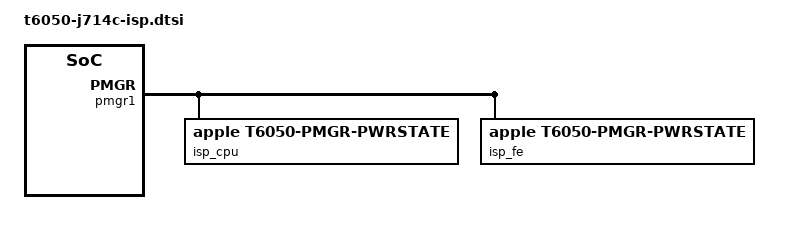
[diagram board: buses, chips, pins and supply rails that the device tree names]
// SPDX-License-Identifier: GPL-2.0+ OR MIT
/*
 * J714c ISP: T6050's ISP17a (ASC version 0x110003, the T8140/T8142 block).
 * From the J714c ADT: isp0 reg 0x580000000 + 0x3ff0000, IRQs [513 514 515
 * 516 526] (513 carries the IPC mailbox), sensor-type 0x73, firmware
 * pre-loaded by iBoot; dart-isp0 at 0x5828c0000/0x5828e0000/0x582900000
 * (+0xc000), IRQ 531, remap streams 1 6 7 10 11 -> 0; EIC mmio-wd-isp
 * 0x5c3b50000 + 0x8000.
 *
 * The ADT marks ISP_CPU (id 220) and ISP_FE (221) no_ps, but pmgr1's slots
 * run by device id 8 bytes apart from ISP_SYS (218, +0x3a0): ISP_CPU +0x3b0,
 * ISP_FE +0x3b8. Measured: both reach active from the AP, and the ISP then
 * reports its version. The remaining ISP slots (+0x3d8..+0x3f0) sit in the
 * DAPF range the boot loader passes to the ISP.
 *
 * m1n1 powers ISP_SYS, ISP_CPU and ISP_FE, carves the firmware heap and
 * fills in "isp-heap"; without it the driver has no heap.
 *
 * The sensor presets are the M5 (T8142) IMX958 ones; the J714c sensor is not
 * identified yet.
 */

&pmgr1 {
	ps_isp_cpu: power-controller@3b0 {
		compatible = "apple,t6050-pmgr-pwrstate", "apple,t8103-pmgr-pwrstate";
		reg = <0x3b0 4>;
		label = "isp_cpu";
		#power-domain-cells = <0>;
		#reset-cells = <0>;
		power-domains = <&ps_isp_sys>;
	};

	ps_isp_fe: power-controller@3b8 {
		compatible = "apple,t6050-pmgr-pwrstate", "apple,t8103-pmgr-pwrstate";
		reg = <0x3b8 4>;
		label = "isp_fe";
		#power-domain-cells = <0>;
		#reset-cells = <0>;
		power-domains = <&ps_isp_sys>;
	};
};

&soc {
	isp_dart0: iommu@5828c0000 {
		compatible = "apple,t6050-dart", "apple,t8110-dart";
		reg = <0x5 0x828c0000 0x0 0xc000>;
		#iommu-cells = <1>;
		interrupt-parent = <&aic>;
		interrupts = <AIC_IRQ 531 IRQ_TYPE_LEVEL_HIGH>;
		power-domains = <&ps_isp_sys>;
		/* As on T8140/T8142: 3-level tables, vm-base 0x10000000000. */
		apple,dma-range = <0x0 0x0 0x8 0x0>;
		apple,remap-streams = <1 0>, <6 0>, <7 0>, <10 0>, <11 0>;
	};

	isp_dart1: iommu@5828e0000 {
		compatible = "apple,t6050-dart", "apple,t8110-dart";
		reg = <0x5 0x828e0000 0x0 0xc000>;
		#iommu-cells = <1>;
		interrupt-parent = <&aic>;
		interrupts = <AIC_IRQ 531 IRQ_TYPE_LEVEL_HIGH>;
		power-domains = <&ps_isp_sys>;
		apple,dma-range = <0x0 0x0 0x8 0x0>;
		apple,remap-streams = <1 0>, <6 0>, <7 0>, <10 0>, <11 0>;
	};

	isp_dart2: iommu@582900000 {
		compatible = "apple,t6050-dart", "apple,t8110-dart";
		reg = <0x5 0x82900000 0x0 0xc000>;
		#iommu-cells = <1>;
		interrupt-parent = <&aic>;
		interrupts = <AIC_IRQ 531 IRQ_TYPE_LEVEL_HIGH>;
		power-domains = <&ps_isp_sys>;
		apple,dma-range = <0x0 0x0 0x8 0x0>;
		apple,remap-streams = <1 0>, <6 0>, <7 0>, <10 0>, <11 0>;
	};

	/*
	 * As on T8140/T8142: "coproc" stops short of the secure route table at
	 * +0x1804000 and of the IRQ block (+0x2920000, "mbox") and the GPIO
	 * words (+0x2921000).
	 */
	isp: isp@580000000 {
		compatible = "apple,t6050-isp", "apple,isp";
		iommus = <&isp_dart0 0>, <&isp_dart1 0>, <&isp_dart2 0>;
		reg-names = "coproc", "mbox", "gpio", "wdt";
		reg = <0x5 0x80000000 0x0 0x1801000>,
		      <0x5 0x82920000 0x0 0x1000>,
		      <0x5 0x82921000 0x0 0x100>,
		      <0x5 0xc3b50000 0x0 0x8000>;
		interrupt-parent = <&aic>;
		interrupts = <AIC_IRQ 513 IRQ_TYPE_LEVEL_HIGH>;
		power-domains = <&ps_isp_sys>, <&ps_isp_cpu>, <&ps_isp_fe>;
		apple,dart-vm-size = <0x0 0xe0000000>;
		apple,platform-id = <0x73>;
		apple,temporal-filter = <1>;

		sensor-presets {
			/* 1280x720 */
			preset0 {
				apple,config-index = <7>;
				apple,input-size = <3040 2880>;
				apple,output-size = <1280 720>;
				apple,crop = <0 584 3040 1710>;
			};
			/* 1920x1080 */
			preset1 {
				apple,config-index = <7>;
				apple,input-size = <3040 2880>;
				apple,output-size = <1920 1080>;
				apple,crop = <0 584 3040 1710>;
			};
		};
	};
};

#include "isp-common.dtsi"

/*
 * Off, after isp-common.dtsi turns it on: the IRQ block's first word
 * (0x582920000) stalls the bus from the AP with every ISP power domain
 * active, while the coproc, GPIO, DART and EIC watchdog words answer. The
 * J714c ISP is exclave-assigned (macOS drives it through the ISPEngine
 * exclave), so the driver's first mailbox access hangs the boot.
 */
&isp {
	status = "disabled";
};
